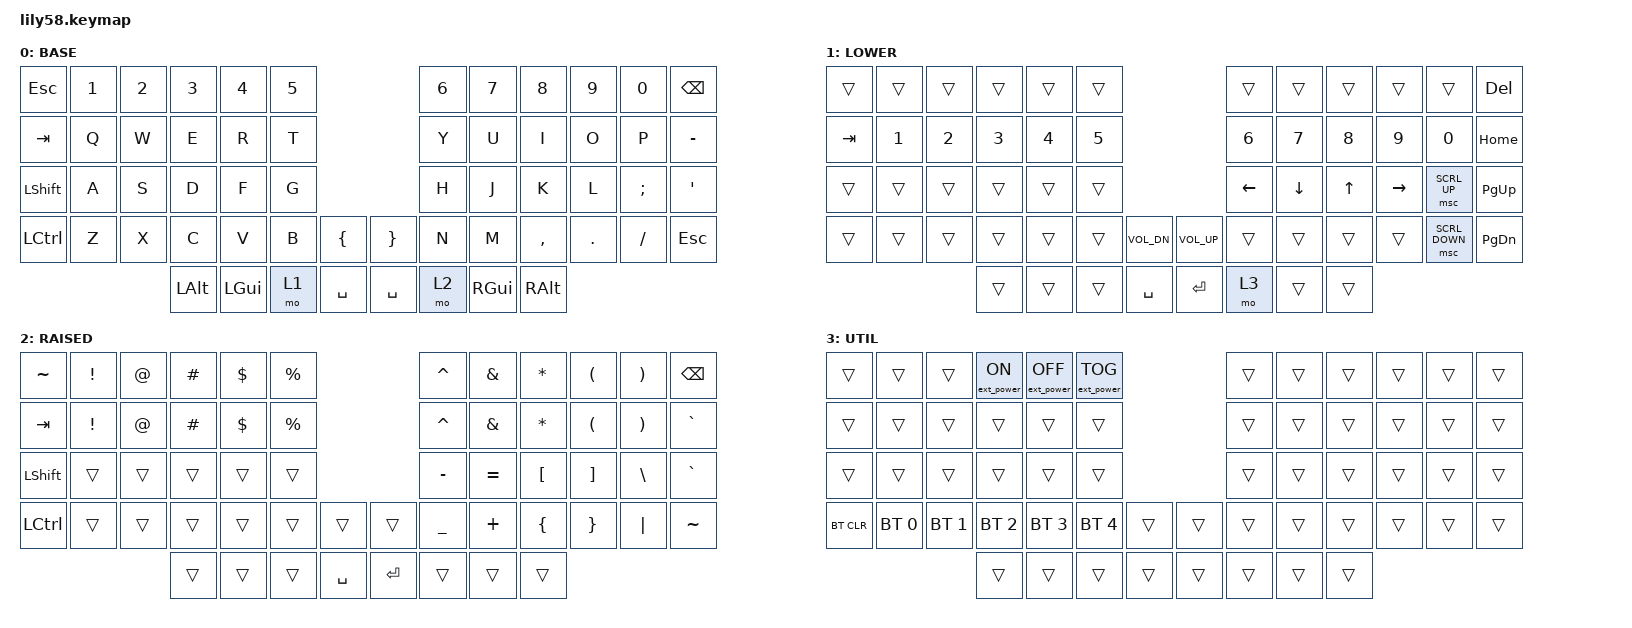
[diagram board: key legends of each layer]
/*
 * Copyright (c) 2020 The ZMK Contributors
 *
 * SPDX-License-Identifier: MIT
 */

//================================================= BLANK LAYER =================================================
//        raise_layer {
//        display-name = "BLANK";
//// ------------------------------------------------------------------------------------------------------------
//// |       |      |      |      |      |      |                   |      |       |       |      |       |       |
//// |       |      |      |      |      |      |                   |      |       |       |      |       |       |
//// |       |      |      |      |      |      |                   |      |       |       |      |       |       |
//// |       |      |      |      |      |      |        |  |       |      |       |       |      |       |       |
////                       |      |      |      |        |  |       |      |       |       |
//            bindings = <
//&trans  &trans  &trans  &trans  &trans  &trans                       &trans  &trans  &trans  &trans  &trans  &trans
//&trans  &trans  &trans  &trans  &trans  &trans                       &trans  &trans  &trans  &trans  &trans  &trans
//&trans  &trans  &trans  &trans  &trans  &trans                       &trans  &trans  &trans  &trans  &trans  &trans
//&trans  &trans  &trans  &trans  &trans  &trans  &trans      &trans   &trans  &trans  &trans  &trans  &trans  &trans
//                        &trans  &trans  &trans  &trans      &trans   &trans  &trans  &trans
//            >;
//        };
//================================================= BLANK LAYER =================================================

#include <behaviors.dtsi>
#include <dt-bindings/zmk/keys.h>
#include <dt-bindings/zmk/bt.h>
#include <dt-bindings/zmk/ext_power.h>
#include <dt-bindings/zmk/pointing.h>

/ {
    keymap {
        compatible = "zmk,keymap";

        default_layer {
        display-name = "BASE";
// ------------------------------------------------------------------------------------------------------------
// |  ESC  |  1  |  2  |  3   |  4   |  5   |                   |  6   |  7    |  8    |  9   |   0   | BSPC  |
// |  TAB  |  Q  |  W  |  E   |  R   |  T   |                   |  Y   |  U    |  I    |  O   |   P   |   -   |
// | SHIFT |  A  |  S  |  D   |  F   |  G   |                   |  H   |  J    |  K    |  L   |   ;   |   '   |
// |  CTRL |  Z  |  X  |  C   |  V   |  B   |   "{"  |  |  "}"  |  N   |  M    |  ,    |  .   |   /   |  ESC  |
//                     | ALT  | GUI  | LOWER|  SPACE |  | SPACE | RAISE| RGUI  | ALT   |
            bindings = <
&kp ESC   &kp N1 &kp N2 &kp N3   &kp N4   &kp N5                     &kp N6 &kp N7   &kp N8    &kp N9  &kp N0   &kp BSPC
&kp TAB   &kp Q  &kp W  &kp E    &kp R    &kp T                      &kp Y  &kp U    &kp I     &kp O   &kp P    &kp MINUS
&kp LSHFT &kp A  &kp S  &kp D    &kp F    &kp G                      &kp H  &kp J    &kp K     &kp L   &kp SEMI &kp SQT
&kp LCTRL &kp Z  &kp X  &kp C    &kp V    &kp B  &kp LBRC   &kp RBRC &kp N  &kp M    &kp COMMA &kp DOT &kp FSLH &kp ESC
                        &kp LALT &kp LGUI &mo 1  &kp SPACE  &kp SPACE  &mo 2  &kp RGUI &kp RALT
            >;
        };

        lower_layer {
        display-name = "LOWER";
// ------------------------------------------------------------------------------------------------------------
// |       |     |     |      |      |      |                   |      |       |       |      |       | DEL   |
// |  TAB  |  1  |  2  |   3  |   4  |   5  |                   |   6  |   7   |   8   |   9  |   0   | HOME  |
// |  SHFT |     |     |      |      |      |                   | LFT  |  DWN  |  UP   | RGT  | SCRLU | PGUP  |
// |  CTRL |     |     |      |      |      |  VOL-  |  | VOL+  |      |       |       |      | SCRLD | PGDWN |
//                     |      |      |      |   SPC  |  | RET   |      |       |       |
            bindings = <
&trans  &trans  &trans  &trans  &trans  &trans                      &trans  &trans  &trans  &trans  &trans  &kp DEL
&kp TAB  &kp N1  &kp N2  &kp N3  &kp N4  &kp N5                     &kp N6  &kp N7  &kp N8  &kp N9  &kp N0  &kp HOME
&trans  &trans  &trans  &trans  &trans  &trans                      &kp LEFT  &kp DOWN  &kp UP  &kp RIGHT  &msc SCRL_UP  &kp PG_UP
&trans  &trans  &trans  &trans  &trans  &trans  &kp C_VOL_DN      &kp C_VOL_UP  &trans  &trans  &trans  &trans  &msc SCRL_DOWN  &kp PG_DN
                        &trans  &trans  &trans  &kp SPACE         &kp RET  &mo 3  &trans  &trans
            >;
        };

        raise_layer {
        display-name = "RAISED";
// ------------------------------------------------------------------------------------------------------------
// |   ~  |   !  |   @  |   #  |   $  |   %  |                   |   ^  |   &   |   *   |  (   |   )   |  BSPC |
// | TAB  |   !  |   @  |   #  |   $  |   %  |                   |   ^  |   &   |   *   |  (   |   )   |   `   |
// | SHFT |      |      |      |      |      |                   |   -  |   =   |   [   |  ]   |   \   |   `   |
// | CTRL |      |      |      |      |      |        |  |       |   _  |   +   |   {   |  }   |  "|"  |   ~   |
//                      |      |      |      |  SPC   |  |  RET  |      |       |       |
            bindings = <
&kp TILDE  &kp EXCL  &kp AT  &kp HASH  &kp DLLR  &kp PRCNT           &kp CARET  &kp AMPS  &kp ASTRK &kp LPAR  &kp RPAR  &kp BSPC
&kp TAB  &kp EXCL  &kp AT  &kp HASH  &kp DLLR  &kp PRCNT                       &kp CARET     &kp AMPS    &kp ASTRK    &kp LPAR    &kp RPAR    &kp GRAVE
&kp LSHFT  &trans  &trans  &trans  &trans  &trans                       &kp MINUS  &kp EQUAL &kp LBKT  &kp RBKT  &kp BSLH  &kp GRAVE
&kp LCTRL  &trans  &trans  &trans  &trans  &trans  &trans      &trans   &kp UNDER  &kp PLUS  &kp LBRC  &kp RBRC  &kp PIPE  &kp TILDE
                        &trans  &trans  &trans  &kp SPACE   &kp RET  &trans     &trans    &trans
            >;
        };

        util_layer {
        display-name = "UTIL";
// ------------------------------------------------------------------------------------------------------------
// |       |     |     |      |      |      |                   |      |       |       |      |       |       |
// |       |     |     |      |      |      |                   |      |       |       |      |       |       |
// |       |     |     |      |      |      |                   |      |       |       |      |       |       |
// |       |     |     |      |      |      |        |  |       |      |       |       |      |       |       |
//                     |      |      |      |        |  |       |      |       |       |

            bindings = <
&trans   &trans  &trans &ext_power EP_ON  &ext_power EP_OFF  &ext_power EP_TOG                    &trans  &trans  &trans  &trans  &trans  &trans
&trans   &trans  &trans &trans  &trans  &trans                    &trans  &trans  &trans  &trans  &trans  &trans
&trans   &trans  &trans &trans  &trans  &trans                    &trans  &trans  &trans  &trans  &trans  &trans
&bt BT_CLR  &bt BT_SEL 0  &bt BT_SEL 1 &bt BT_SEL 2  &bt BT_SEL 3  &bt BT_SEL 4  &trans    &trans  &trans  &trans  &trans  &trans  &trans  &trans
                       &trans  &trans  &trans  &trans    &trans  &trans  &trans  &trans
            >;
        };
    };
};
